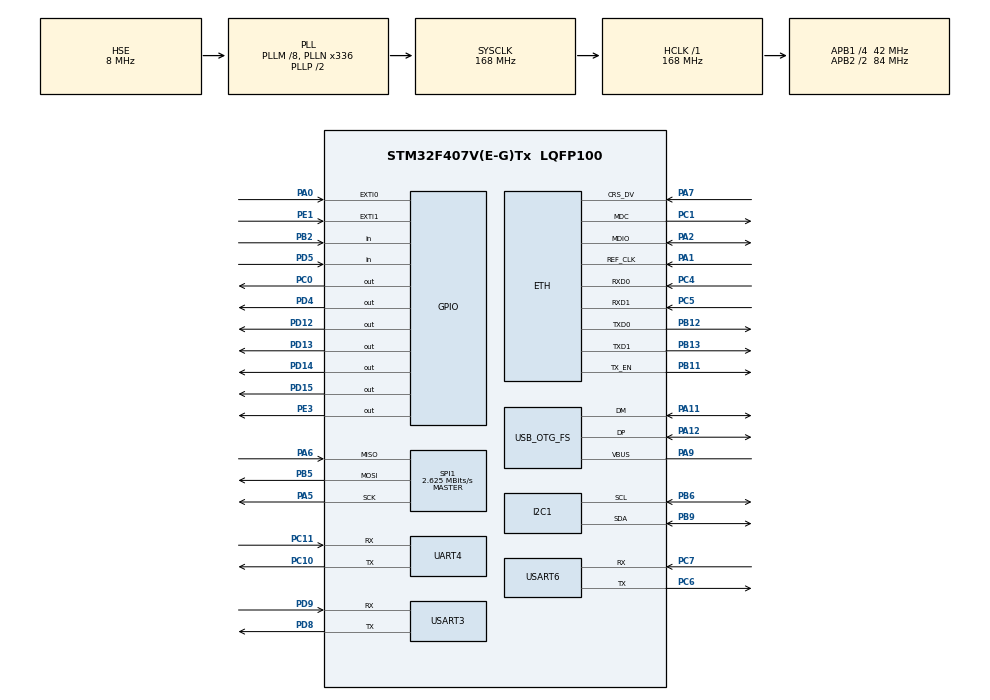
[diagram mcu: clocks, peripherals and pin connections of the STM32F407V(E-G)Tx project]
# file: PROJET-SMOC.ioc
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ETH.MACAddr=00\:80\:E1\:00\:00\:05
ETH.MediaInterface=ETH_MEDIA_INTERFACE_RMII
ETH.PhyAddress=0
LWIP.GATEWAY_ADDRESS=192.168.001.254
LWIP.IP_ADDRESS=192.168.001.005
LWIP.LWIP_DHCP=0
LWIP.LWIP_HTTPD=1
LWIP.LWIP_HTTPD_CUSTOM_FILES=1
LWIP.LWIP_HTTPD_DYNAMIC_HEADERS=1
LWIP.NETMASK_ADDRESS=255.255.255.000
LWIP.Version=v2.0.3_Cube
Mcu.Family=STM32F4
Mcu.Name=STM32F407V(E-G)Tx
Mcu.Package=LQFP100
NVIC.OTG_FS_IRQn=true\:0\:0\:false\:false\:true\:true\:true
NVIC.PriorityGroup=NVIC_PRIORITYGROUP_0
PA0-WKUP.GPIO_ModeDefaultEXTI=GPIO_MODE_IT_RISING
PA0-WKUP.GPIO_PuPd=GPIO_NOPULL
PA0-WKUP.Signal=GPXTI0
PA1.Mode=RMII
PA1.Signal=ETH_REF_CLK
PA10.GPIO_Mode=GPIO_MODE_AF_PP
PA10.GPIO_PuPd=GPIO_NOPULL
PA10.GPIO_Speed=GPIO_SPEED_FREQ_VERY_HIGH
PA10.Signal=USB_OTG_FS_ID
PA11.GPIO_Mode=GPIO_MODE_AF_PP
PA11.GPIO_PuPd=GPIO_NOPULL
PA11.GPIO_Speed=GPIO_SPEED_FREQ_VERY_HIGH
PA11.Mode=Host_Only
PA11.Signal=USB_OTG_FS_DM
PA12.GPIO_Mode=GPIO_MODE_AF_PP
PA12.GPIO_PuPd=GPIO_NOPULL
PA12.GPIO_Speed=GPIO_SPEED_FREQ_VERY_HIGH
PA12.Mode=Host_Only
PA12.Signal=USB_OTG_FS_DP
PA13.Mode=Serial_Wire
PA13.Signal=SYS_JTMS-SWDIO
PA14.Mode=Serial_Wire
PA14.Signal=SYS_JTCK-SWCLK
PA2.Mode=RMII
PA2.Signal=ETH_MDIO
PA4.GPIO_Mode=GPIO_MODE_AF_PP
PA4.GPIO_PuPd=GPIO_NOPULL
PA4.GPIO_Speed=GPIO_SPEED_FREQ_LOW
PA4.Signal=I2S3_WS
PA5.GPIO_Mode=GPIO_MODE_AF_PP
PA5.GPIO_PuPd=GPIO_NOPULL
PA5.GPIO_Speed=GPIO_SPEED_FREQ_VERY_HIGH
PA5.Mode=Full_Duplex_Master
PA5.Signal=SPI1_SCK
PA6.GPIO_Mode=GPIO_MODE_AF_PP
PA6.GPIO_PuPd=GPIO_NOPULL
PA6.GPIO_Speed=GPIO_SPEED_FREQ_VERY_HIGH
PA6.Mode=Full_Duplex_Master
PA6.Signal=SPI1_MISO
PA7.Mode=RMII
PA7.Signal=ETH_CRS_DV
PA9.GPIO_Mode=GPIO_MODE_INPUT
PA9.GPIO_PuPd=GPIO_NOPULL
PA9.Mode=Activate_VBUS
PA9.Signal=USB_OTG_FS_VBUS
PB10.GPIO_Mode=GPIO_MODE_AF_PP
PB10.GPIO_PuPd=GPIO_NOPULL
PB10.GPIO_Speed=GPIO_SPEED_FREQ_LOW
PB10.Signal=I2S2_CK
PB11.Mode=RMII
PB11.Signal=ETH_TX_EN
PB12.Mode=RMII
PB12.Signal=ETH_TXD0
PB13.Mode=RMII
PB13.Signal=ETH_TXD1
PB2.GPIO_Mode=GPIO_MODE_INPUT
PB2.GPIO_PuPd=GPIO_NOPULL
PB2.Signal=GPIO_Input
PB3.Signal=SYS_JTDO-SWO
PB5.Mode=Full_Duplex_Master
PB5.Signal=SPI1_MOSI
PB6.GPIO_Mode=GPIO_MODE_AF_OD
PB6.GPIO_PuPd=GPIO_NOPULL
PB6.GPIO_PuPdOD=GPIO_PULLUP
PB6.GPIO_Speed=GPIO_SPEED_FREQ_VERY_HIGH
PB6.Mode=I2C
PB6.Signal=I2C1_SCL
PB9.GPIO_Mode=GPIO_MODE_AF_OD
PB9.GPIO_PuPd=GPIO_NOPULL
PB9.GPIO_PuPdOD=GPIO_PULLUP
PB9.GPIO_Speed=GPIO_SPEED_FREQ_VERY_HIGH
PB9.Mode=I2C
PB9.Signal=I2C1_SDA
PC0.GPIO_ModeDefaultOutputPP=GPIO_MODE_OUTPUT_PP
PC0.GPIO_PuPd=GPIO_NOPULL
PC0.GPIO_Speed=GPIO_SPEED_FREQ_LOW
PC0.PinState=GPIO_PIN_RESET
PC0.Signal=GPIO_Output
PC1.Mode=RMII
PC1.Signal=ETH_MDC
PC10.Mode=Asynchronous
PC10.Signal=UART4_TX
PC11.Mode=Asynchronous
PC11.Signal=UART4_RX
PC14-OSC32_IN.Mode=LSE-External-Oscillator
PC14-OSC32_IN.Signal=RCC_OSC32_IN
PC15-OSC32_OUT.Mode=LSE-External-Oscillator
PC15-OSC32_OUT.Signal=RCC_OSC32_OUT
PC3.GPIO_Mode=GPIO_MODE_AF_PP
PC3.GPIO_PuPd=GPIO_NOPULL
PC3.GPIO_Speed=GPIO_SPEED_FREQ_LOW
PC3.Signal=I2S2_SD
PC4.Mode=RMII
PC4.Signal=ETH_RXD0
PC5.Mode=RMII
PC5.Signal=ETH_RXD1
PC6.Mode=Asynchronous
PC6.Signal=USART6_TX
PC7.Mode=Asynchronous
PC7.Signal=USART6_RX
PD12.GPIO_ModeDefaultOutputPP=GPIO_MODE_OUTPUT_PP
PD12.GPIO_PuPd=GPIO_NOPULL
PD12.GPIO_Speed=GPIO_SPEED_FREQ_LOW
PD12.PinState=GPIO_PIN_RESET
PD12.Signal=GPIO_Output
PD13.GPIO_ModeDefaultOutputPP=GPIO_MODE_OUTPUT_PP
PD13.GPIO_PuPd=GPIO_NOPULL
PD13.GPIO_Speed=GPIO_SPEED_FREQ_LOW
PD13.PinState=GPIO_PIN_RESET
PD13.Signal=GPIO_Output
PD14.GPIO_ModeDefaultOutputPP=GPIO_MODE_OUTPUT_PP
PD14.GPIO_PuPd=GPIO_NOPULL
PD14.GPIO_Speed=GPIO_SPEED_FREQ_LOW
PD14.PinState=GPIO_PIN_RESET
PD14.Signal=GPIO_Output
PD15.GPIO_ModeDefaultOutputPP=GPIO_MODE_OUTPUT_PP
PD15.GPIO_PuPd=GPIO_NOPULL
PD15.GPIO_Speed=GPIO_SPEED_FREQ_LOW
PD15.PinState=GPIO_PIN_RESET
PD15.Signal=GPIO_Output
PD4.GPIO_ModeDefaultOutputPP=GPIO_MODE_OUTPUT_PP
PD4.GPIO_PuPd=GPIO_NOPULL
PD4.GPIO_Speed=GPIO_SPEED_FREQ_LOW
PD4.PinState=GPIO_PIN_RESET
PD4.Signal=GPIO_Output
PD5.GPIO_Mode=GPIO_MODE_INPUT
PD5.GPIO_PuPd=GPIO_NOPULL
PD5.Signal=GPIO_Input
PD8.Mode=Asynchronous
PD8.Signal=USART3_TX
PD9.Mode=Asynchronous
PD9.Signal=USART3_RX
PE1.GPIO_ModeDefaultEXTI=GPIO_MODE_IT_RISING
PE1.GPIO_PuPd=GPIO_NOPULL
PE1.Signal=GPXTI1
PE3.GPIO_ModeDefaultOutputPP=GPIO_MODE_OUTPUT_PP
PE3.GPIO_PuPd=GPIO_NOPULL
PE3.GPIO_Speed=GPIO_SPEED_FREQ_LOW
PE3.PinState=GPIO_PIN_RESET
PE3.Signal=GPIO_Output
PH0-OSC_IN.Mode=HSE-External-Oscillator
PH0-OSC_IN.Signal=RCC_OSC_IN
PH1-OSC_OUT.Mode=HSE-External-Oscillator
PH1-OSC_OUT.Signal=RCC_OSC_OUT
ProjectManager.HeapSize=0x200
ProjectManager.StackSize=0x400
ProjectManager.TargetToolchain=TrueSTUDIO
RCC.48MHZClocksFreq_Value=48000000
RCC.AHBFreq_Value=168000000
RCC.APB1CLKDivider=RCC_HCLK_DIV4
RCC.APB1Freq_Value=42000000
RCC.APB1TimFreq_Value=84000000
RCC.APB2CLKDivider=RCC_HCLK_DIV2
RCC.APB2Freq_Value=84000000
RCC.APB2TimFreq_Value=168000000
RCC.CortexFreq_Value=168000000
RCC.HCLKFreq_Value=168000000
RCC.HSE_VALUE=8000000
RCC.HSI_VALUE=16000000
RCC.PLLM=8
RCC.PLLN=336
RCC.PLLQ=7
RCC.SYSCLKFreq_VALUE=168000000
RCC.SYSCLKSource=RCC_SYSCLKSOURCE_PLLCLK
RCC.VCOOutputFreq_Value=336000000
SPI1.BaudRatePrescaler=SPI_BAUDRATEPRESCALER_32
SPI1.CalculateBaudRate=2.625 MBits/s
SPI1.Direction=SPI_DIRECTION_2LINES
SPI1.Mode=SPI_MODE_MASTER
SPI1.VirtualType=VM_MASTER
UART4.VirtualMode=Asynchronous
USART3.VirtualMode=VM_ASYNC
USART6.VirtualMode=VM_ASYNC
USB_HOST.BSP.number=1
USB_HOST.USBH_HandleTypeDef-CDC_FS=hUsbHostFS
USB_HOST.VirtualModeFS=Cdc
USB_HOST0.BSP.STBoard=false
USB_HOST0.BSP.api=Unknown
USB_HOST0.BSP.i2caddr=0
USB_HOST0.BSP.i2creg=0
USB_HOST0.BSP.instance=PC0
USB_HOST0.BSP.ip=GPIO
USB_HOST0.BSP.mode=Output
USB_HOST0.BSP.name=Drive_VBUS_FS
USB_HOST0.BSP.solution=PC0
USB_OTG_FS.VirtualMode=Host_Only
USB_OTG_FS.phy_itface=HCD_PHY_EMBEDDED
VP_LWIP_VS_Enabled.Mode=Enabled
VP_USB_HOST_VS_USB_HOST_CDC_FS.Mode=CDC_FS
board=STM32F407G-DISC1

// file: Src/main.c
/* USER CODE BEGIN Header */
/**
  ******************************************************************************
  * @file           : main.c
  * @brief          : Main program body
  ******************************************************************************
  * @attention
  *
  * <h2><center>&copy; Copyright (c) 2019 STMicroelectronics.
  * All rights reserved.</center></h2>
  *
  * This software component is licensed by ST under Ultimate Liberty license
  * SLA0044, the "License"; You may not use this file except in compliance with
  * the License. You may obtain a copy of the License at:
  *                             www.st.com/SLA0044
  *
  ******************************************************************************
  */
/* USER CODE END Header */

#include "main.h"
#include "lwip.h"
#include "usb_host.h"

/* USER CODE BEGIN Includes */
#include <stdio.h>
#include <string.h>
#include <stdlib.h>
#include "httpd.h"

/* USER CODE END Includes */

I2C_HandleTypeDef hi2c1;

SPI_HandleTypeDef hspi1;

UART_HandleTypeDef huart4;
UART_HandleTypeDef huart3;
UART_HandleTypeDef huart6;

void SystemClock_Config(void);
static void MX_GPIO_Init(void);
static void MX_I2C1_Init(void);
static void MX_USART3_UART_Init(void);
static void MX_SPI1_Init(void);
static void MX_UART4_Init(void);
static void MX_USART6_UART_Init(void);
void MX_USB_HOST_Process(void);

int main(void)
{

  /* MCU Configuration--------------------------------------------------------*/

  /* Reset of all peripherals, Initializes the Flash interface and the Systick. */
  HAL_Init();

  /* Configure the system clock */
  SystemClock_Config();

  /* Initialize all configured peripherals */
  MX_GPIO_Init();
  MX_I2C1_Init();
  MX_LWIP_Init();
  MX_USB_HOST_Init();
  MX_USART3_UART_Init();
  MX_SPI1_Init();
  MX_UART4_Init();
  MX_USART6_UART_Init();

  /* Infinite loop */
  /* USER CODE BEGIN WHILE */
  httpd_init();
  uint8_t buffer[12];

  int X = 10;
  int Y = 5;
  int Z = 34;

  char msg[27];

  while (1)
  {
    /* USER CODE END WHILE */
    MX_USB_HOST_Process();

    /* USER CODE BEGIN 3 */

    // Make ETH work
    MX_LWIP_Process();

    HAL_UART_Receive(&huart4, &buffer, 12, 1000);

    X = strtol(buffer, NULL, 10);
    Y = strtol(buffer + 4, NULL, 10);
    Z = strtol(buffer + 8, NULL, 10);

    sprintf(msg, "X: %4d, Y: %4d, Z: %4d\n\r", X, Y, Z);
    HAL_UART_Transmit(&huart6, &msg, 27, 1000);

    HAL_Delay(250);
  }
  /* USER CODE END 3 */
}

void SystemClock_Config(void)
{
  RCC_OscInitTypeDef RCC_OscInitStruct = {0};
  RCC_ClkInitTypeDef RCC_ClkInitStruct = {0};

  /** Configure the main internal regulator output voltage
  */
  __HAL_RCC_PWR_CLK_ENABLE();
  __HAL_PWR_VOLTAGESCALING_CONFIG(PWR_REGULATOR_VOLTAGE_SCALE1);
  /** Initializes the CPU, AHB and APB busses clocks
  */
  RCC_OscInitStruct.OscillatorType = RCC_OSCILLATORTYPE_HSE;
  RCC_OscInitStruct.HSEState = RCC_HSE_ON;
  RCC_OscInitStruct.PLL.PLLState = RCC_PLL_ON;
  RCC_OscInitStruct.PLL.PLLSource = RCC_PLLSOURCE_HSE;
  RCC_OscInitStruct.PLL.PLLM = 8;
  RCC_OscInitStruct.PLL.PLLN = 336;
  RCC_OscInitStruct.PLL.PLLP = RCC_PLLP_DIV2;
  RCC_OscInitStruct.PLL.PLLQ = 7;
  if (HAL_RCC_OscConfig(&RCC_OscInitStruct) != HAL_OK)
  {
    Error_Handler();
  }
  /** Initializes the CPU, AHB and APB busses clocks
  */
  RCC_ClkInitStruct.ClockType = RCC_CLOCKTYPE_HCLK|RCC_CLOCKTYPE_SYSCLK
                              |RCC_CLOCKTYPE_PCLK1|RCC_CLOCKTYPE_PCLK2;
  RCC_ClkInitStruct.SYSCLKSource = RCC_SYSCLKSOURCE_PLLCLK;
  RCC_ClkInitStruct.AHBCLKDivider = RCC_SYSCLK_DIV1;
  RCC_ClkInitStruct.APB1CLKDivider = RCC_HCLK_DIV4;
  RCC_ClkInitStruct.APB2CLKDivider = RCC_HCLK_DIV2;

  if (HAL_RCC_ClockConfig(&RCC_ClkInitStruct, FLASH_LATENCY_5) != HAL_OK)
  {
    Error_Handler();
  }
}

static void MX_I2C1_Init(void)
{

  hi2c1.Instance = I2C1;
  hi2c1.Init.ClockSpeed = 100000;
  hi2c1.Init.DutyCycle = I2C_DUTYCYCLE_2;
  hi2c1.Init.OwnAddress1 = 0;
  hi2c1.Init.AddressingMode = I2C_ADDRESSINGMODE_7BIT;
  hi2c1.Init.DualAddressMode = I2C_DUALADDRESS_DISABLE;
  hi2c1.Init.OwnAddress2 = 0;
  hi2c1.Init.GeneralCallMode = I2C_GENERALCALL_DISABLE;
  hi2c1.Init.NoStretchMode = I2C_NOSTRETCH_DISABLE;
  if (HAL_I2C_Init(&hi2c1) != HAL_OK)
  {
    Error_Handler();
  }

}

static void MX_SPI1_Init(void)
{

  /* SPI1 parameter configuration*/
  hspi1.Instance = SPI1;
  hspi1.Init.Mode = SPI_MODE_MASTER;
  hspi1.Init.Direction = SPI_DIRECTION_2LINES;
  hspi1.Init.DataSize = SPI_DATASIZE_8BIT;
  hspi1.Init.CLKPolarity = SPI_POLARITY_LOW;
  hspi1.Init.CLKPhase = SPI_PHASE_1EDGE;
  hspi1.Init.NSS = SPI_NSS_SOFT;
  hspi1.Init.BaudRatePrescaler = SPI_BAUDRATEPRESCALER_32;
  hspi1.Init.FirstBit = SPI_FIRSTBIT_MSB;
  hspi1.Init.TIMode = SPI_TIMODE_DISABLE;
  hspi1.Init.CRCCalculation = SPI_CRCCALCULATION_DISABLE;
  hspi1.Init.CRCPolynomial = 10;
  if (HAL_SPI_Init(&hspi1) != HAL_OK)
  {
    Error_Handler();
  }

}

static void MX_UART4_Init(void)
{

  huart4.Instance = UART4;
  huart4.Init.BaudRate = 115200;
  huart4.Init.WordLength = UART_WORDLENGTH_8B;
  huart4.Init.StopBits = UART_STOPBITS_1;
  huart4.Init.Parity = UART_PARITY_NONE;
  huart4.Init.Mode = UART_MODE_TX_RX;
  huart4.Init.HwFlowCtl = UART_HWCONTROL_NONE;
  huart4.Init.OverSampling = UART_OVERSAMPLING_16;
  if (HAL_UART_Init(&huart4) != HAL_OK)
  {
    Error_Handler();
  }

}

static void MX_USART3_UART_Init(void)
{

  huart3.Instance = USART3;
  huart3.Init.BaudRate = 115200;
  huart3.Init.WordLength = UART_WORDLENGTH_8B;
  huart3.Init.StopBits = UART_STOPBITS_1;
  huart3.Init.Parity = UART_PARITY_NONE;
  huart3.Init.Mode = UART_MODE_TX_RX;
  huart3.Init.HwFlowCtl = UART_HWCONTROL_NONE;
  huart3.Init.OverSampling = UART_OVERSAMPLING_16;
  if (HAL_UART_Init(&huart3) != HAL_OK)
  {
    Error_Handler();
  }

}

static void MX_USART6_UART_Init(void)
{

  huart6.Instance = USART6;
  huart6.Init.BaudRate = 115200;
  huart6.Init.WordLength = UART_WORDLENGTH_8B;
  huart6.Init.StopBits = UART_STOPBITS_1;
  huart6.Init.Parity = UART_PARITY_NONE;
  huart6.Init.Mode = UART_MODE_TX_RX;
  huart6.Init.HwFlowCtl = UART_HWCONTROL_NONE;
  huart6.Init.OverSampling = UART_OVERSAMPLING_16;
  if (HAL_UART_Init(&huart6) != HAL_OK)
  {
    Error_Handler();
  }

}

static void MX_GPIO_Init(void)
{
  GPIO_InitTypeDef GPIO_InitStruct = {0};

  /* GPIO Ports Clock Enable */
  __HAL_RCC_GPIOE_CLK_ENABLE();
  __HAL_RCC_GPIOC_CLK_ENABLE();
  __HAL_RCC_GPIOH_CLK_ENABLE();
  __HAL_RCC_GPIOA_CLK_ENABLE();
  __HAL_RCC_GPIOB_CLK_ENABLE();
  __HAL_RCC_GPIOD_CLK_ENABLE();

  /*Configure GPIO pin Output Level */
  HAL_GPIO_WritePin(GPIOE, GPIO_PIN_3, GPIO_PIN_RESET);

  /*Configure GPIO pin Output Level */
  HAL_GPIO_WritePin(GPIOC, GPIO_PIN_0, GPIO_PIN_RESET);

  /*Configure GPIO pin Output Level */
  HAL_GPIO_WritePin(GPIOD, GPIO_PIN_12|GPIO_PIN_13|GPIO_PIN_14|GPIO_PIN_15
                          |GPIO_PIN_4, GPIO_PIN_RESET);

  /*Configure GPIO pin : PE3 */
  GPIO_InitStruct.Pin = GPIO_PIN_3;
  GPIO_InitStruct.Mode = GPIO_MODE_OUTPUT_PP;
  GPIO_InitStruct.Pull = GPIO_NOPULL;
  GPIO_InitStruct.Speed = GPIO_SPEED_FREQ_LOW;
  HAL_GPIO_Init(GPIOE, &GPIO_InitStruct);

  /*Configure GPIO pin : PC0 */
  GPIO_InitStruct.Pin = GPIO_PIN_0;
  GPIO_InitStruct.Mode = GPIO_MODE_OUTPUT_PP;
  GPIO_InitStruct.Pull = GPIO_NOPULL;
  GPIO_InitStruct.Speed = GPIO_SPEED_FREQ_LOW;
  HAL_GPIO_Init(GPIOC, &GPIO_InitStruct);

  /*Configure GPIO pin : PC3 */
  GPIO_InitStruct.Pin = GPIO_PIN_3;
  GPIO_InitStruct.Mode = GPIO_MODE_AF_PP;
  GPIO_InitStruct.Pull = GPIO_NOPULL;
  GPIO_InitStruct.Speed = GPIO_SPEED_FREQ_LOW;
  GPIO_InitStruct.Alternate = GPIO_AF5_SPI2;
  HAL_GPIO_Init(GPIOC, &GPIO_InitStruct);

  /*Configure GPIO pin : PA0 */
  GPIO_InitStruct.Pin = GPIO_PIN_0;
  GPIO_InitStruct.Mode = GPIO_MODE_IT_RISING;
  GPIO_InitStruct.Pull = GPIO_NOPULL;
  HAL_GPIO_Init(GPIOA, &GPIO_InitStruct);

  /*Configure GPIO pin : PA4 */
  GPIO_InitStruct.Pin = GPIO_PIN_4;
  GPIO_InitStruct.Mode = GPIO_MODE_AF_PP;
  GPIO_InitStruct.Pull = GPIO_NOPULL;
  GPIO_InitStruct.Speed = GPIO_SPEED_FREQ_LOW;
  GPIO_InitStruct.Alternate = GPIO_AF6_SPI3;
  HAL_GPIO_Init(GPIOA, &GPIO_InitStruct);

  /*Configure GPIO pin : PB2 */
  GPIO_InitStruct.Pin = GPIO_PIN_2;
  GPIO_InitStruct.Mode = GPIO_MODE_INPUT;
  GPIO_InitStruct.Pull = GPIO_NOPULL;
  HAL_GPIO_Init(GPIOB, &GPIO_InitStruct);

  /*Configure GPIO pin : PB10 */
  GPIO_InitStruct.Pin = GPIO_PIN_10;
  GPIO_InitStruct.Mode = GPIO_MODE_AF_PP;
  GPIO_InitStruct.Pull = GPIO_NOPULL;
  GPIO_InitStruct.Speed = GPIO_SPEED_FREQ_LOW;
  GPIO_InitStruct.Alternate = GPIO_AF5_SPI2;
  HAL_GPIO_Init(GPIOB, &GPIO_InitStruct);

  /*Configure GPIO pins : PD12 PD13 PD14 PD15
                           PD4 */
  GPIO_InitStruct.Pin = GPIO_PIN_12|GPIO_PIN_13|GPIO_PIN_14|GPIO_PIN_15
                          |GPIO_PIN_4;
  GPIO_InitStruct.Mode = GPIO_MODE_OUTPUT_PP;
  GPIO_InitStruct.Pull = GPIO_NOPULL;
  GPIO_InitStruct.Speed = GPIO_SPEED_FREQ_LOW;
  HAL_GPIO_Init(GPIOD, &GPIO_InitStruct);

  /*Configure GPIO pin : PD5 */
  GPIO_InitStruct.Pin = GPIO_PIN_5;
  GPIO_InitStruct.Mode = GPIO_MODE_INPUT;
  GPIO_InitStruct.Pull = GPIO_NOPULL;
  HAL_GPIO_Init(GPIOD, &GPIO_InitStruct);

  /*Configure GPIO pin : PE1 */
  GPIO_InitStruct.Pin = GPIO_PIN_1;
  GPIO_InitStruct.Mode = GPIO_MODE_IT_RISING;
  GPIO_InitStruct.Pull = GPIO_NOPULL;
  HAL_GPIO_Init(GPIOE, &GPIO_InitStruct);

}

void Error_Handler(void)
{
}

/************************ (C) COPYRIGHT STMicroelectronics *****END OF FILE****/
